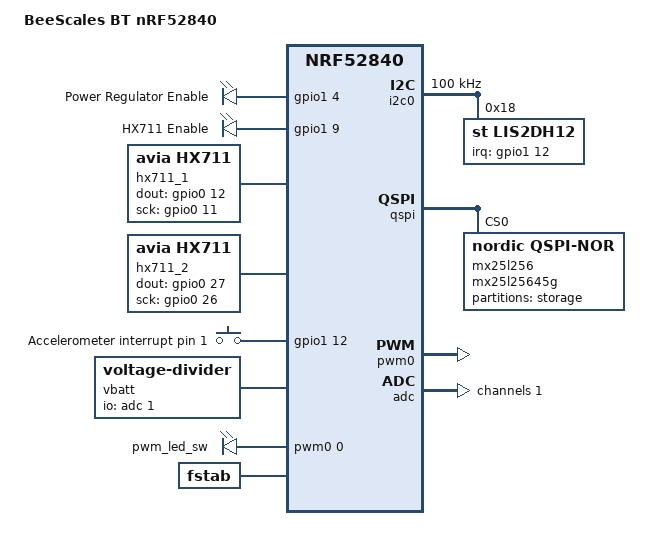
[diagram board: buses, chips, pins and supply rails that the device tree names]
/*
 * Copyright (c) 2026 nRFModule
 * SPDX-License-Identifier: Apache-2.0
 *
 * BeeScales BT custom PCB — nRF52840 BLE-only beehive scale.
 *
 * Peripherals:
 *   - 2x HX711 load cell ADCs (GPIO bit-bang)
 *   - LIS2DH12 accelerometer (I2C, double-tap wake)
 *   - External RTC (I2C, MAX31343 or DS1307)
 *   - MX25L25645G 32MB QSPI flash (LittleFS)
 *   - Battery voltage via ADC (1M/1M divider)
 *   - PWM LED indicator
 *
 * Not present on PCB: UART, USB, SPI peripherals.
 */

/dts-v1/;
#include <nordic/nrf52840_qiaa.dtsi>
#include <nordic/nrf52840_partition.dtsi>
#include "beescales_bt_nrf52840-pinctrl.dtsi"
#include <zephyr/dt-bindings/gpio/gpio.h>
#include <zephyr/dt-bindings/i2c/i2c.h>
#include <zephyr/dt-bindings/pwm/pwm.h>

/delete-node/ &storage_partition;

/ {
	model = "BeeScales BT nRF52840";
	compatible = "nrfmodule,beescales-bt-nrf52840";

	chosen {
		zephyr,sram = &sram0;
		zephyr,flash = &flash0;
		zephyr,code-partition = &slot0_partition;
	};

	/* Power control GPIOs */
	power_control {
		compatible = "gpio-leds";
		reg_enable: reg_enable {
			gpios = <&gpio1 4 (GPIO_ACTIVE_HIGH | GPIO_PULL_UP)>;
			label = "Power Regulator Enable";
		};
		hx711_enable: hx711_enable {
			gpios = <&gpio1 9 GPIO_ACTIVE_HIGH>;
			label = "HX711 Enable";
		};
	};

	/* HX711 Load Cell #1 */
	hx711_1: hx711_1 {
		compatible = "avia,hx711";
		status = "okay";
		dout-gpios = <&gpio0 12 (GPIO_ACTIVE_HIGH | GPIO_PULL_UP)>;
		sck-gpios = <&gpio0 11 GPIO_ACTIVE_HIGH>;
	};

	/* HX711 Load Cell #2 */
	hx711_2: hx711_2 {
		compatible = "avia,hx711";
		status = "okay";
		dout-gpios = <&gpio0 27 (GPIO_ACTIVE_HIGH | GPIO_PULL_UP)>;
		sck-gpios = <&gpio0 26 GPIO_ACTIVE_HIGH>;
	};

	/* Accelerometer interrupt pins */
	accel_gpios {
		compatible = "gpio-keys";
		lis2dh12_int_1: lis2dh12_int_1 {
			gpios = <&gpio1 12 GPIO_ACTIVE_HIGH>;
			label = "Accelerometer interrupt pin 1";
		};
	};

	/* Battery voltage measurement (1M/1M divider) */
	vbatt {
		compatible = "voltage-divider";
		io-channels = <&adc 1>;
		output-ohms = <1000000>;
		full-ohms = <(1000000 + 1000000)>;
	};

	/* PWM LED */
	pwmleds {
		compatible = "pwm-leds";
		pwm_led_sw: pwm_led_switch {
			pwms = <&pwm0 0 PWM_MSEC(20) PWM_POLARITY_NORMAL>;
		};
	};

	/* LittleFS automount */
	fstab {
		compatible = "zephyr,fstab";
		lfs1: lfs1 {
			compatible = "zephyr,fstab,littlefs";
			mount-point = "/lfs1";
			partition = <&lfs1_part>;
			automount;
			read-size = <16>;
			prog-size = <16>;
			cache-size = <64>;
			lookahead-size = <32>;
			block-cycles = <512>;
		};
	};

	aliases {
		acc-int-1 = &lis2dh12_int_1;
		acc-i2c = &i2c0;
		rtc-i2c = &i2c0;
		led-switch = &pwm_led_sw;
		power-en = &reg_enable;
		hx711-en = &hx711_enable;
	};

};

&gpio0 {
	status = "okay";
};

&gpio1 {
	status = "okay";
};

&gpiote {
	status = "okay";
};

/* I2C0: Accelerometer + RTC */
&i2c0 {
	compatible = "nordic,nrf-twim";
	status = "okay";
	clock-frequency = <I2C_BITRATE_STANDARD>;
	pinctrl-0 = <&i2c0_default>;
	pinctrl-1 = <&i2c0_sleep>;
	pinctrl-names = "default", "sleep";

	lis2dh12: lis2dh12@18 {
		compatible = "st,lis2dh12", "st,lis2dh";
		reg = <0x18>;
		irq-gpios = <&gpio1 12 GPIO_ACTIVE_HIGH>;
	};
};

/* QSPI Flash: MX25L25645G (32 MB) */
&qspi {
	status = "okay";
	pinctrl-0 = <&qspi_default>;
	pinctrl-1 = <&qspi_sleep>;
	pinctrl-names = "default", "sleep";

	mx25l256: mx25l25645g@0 {
		compatible = "nordic,qspi-nor";
		reg = <0>;
		writeoc = "pp4io";
		readoc = "read4io";
		sck-frequency = <2000000>;
		jedec-id = [c2 20 19];
		size = <268435456>;
		quad-enable-requirements = "S1B6";
		has-dpd;
		t-enter-dpd = <10000>;
		t-exit-dpd = <35000>;
		enter-4byte-addr = <0x87>;
		address-size-32;
	};
};

/* LittleFS partition on external flash */
&mx25l256 {
	partitions {
		compatible = "fixed-partitions";
		#address-cells = <1>;
		#size-cells = <1>;

		lfs1_part: partition@0 {
			label = "storage";
			reg = <0x00000000 DT_SIZE_K(8000)>;
		};
	};
};

/* PWM for LED control */
&pwm0 {
	status = "okay";
	pinctrl-0 = <&pwm0_default>;
	pinctrl-1 = <&pwm0_sleep>;
	pinctrl-names = "default", "sleep";
};

/* ADC for battery voltage */
&adc {
	status = "okay";
	#address-cells = <1>;
	#size-cells = <0>;

	channel@1 {
		reg = <1>;
		zephyr,gain = "ADC_GAIN_1_6";
		zephyr,reference = "ADC_REF_INTERNAL";
		zephyr,acquisition-time = <ADC_ACQ_TIME_DEFAULT>;
		zephyr,input-positive = <NRF_SAADC_VDD>;
		zephyr,resolution = <14>;
		zephyr,oversampling = <8>;
	};
};

/* Disabled peripherals (not connected on PCB) */
&uart0 { status = "disabled"; };
&uart1 { status = "disabled"; };
&i2c1 { status = "disabled"; };
&spi0 { status = "disabled"; };
&spi1 { status = "disabled"; };
&spi2 { status = "disabled"; };
&spi3 { status = "disabled"; };
&usbd { status = "disabled"; };
